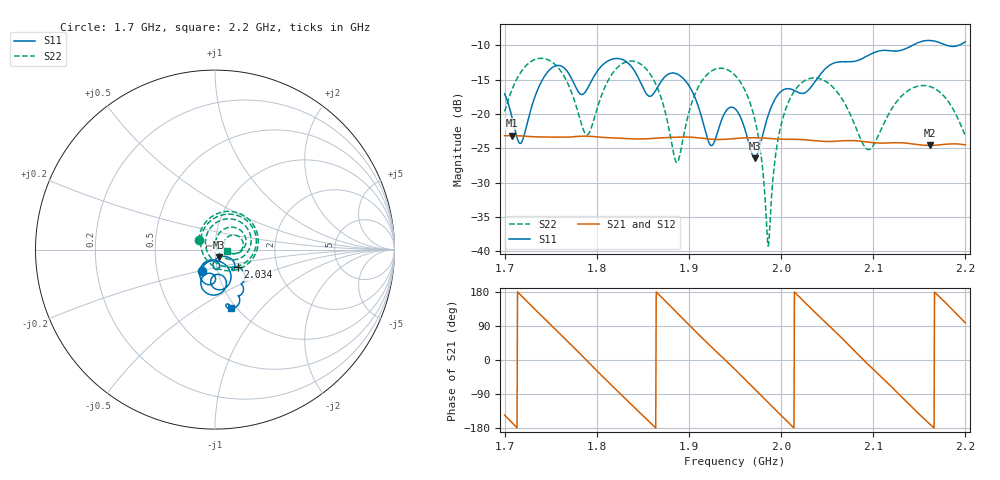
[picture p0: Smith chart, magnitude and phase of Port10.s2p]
# Hz S RI R 50
! CMT, CMT808U, 21440046, 21.4.3/4
! Date: 11/20/2025 11:38:49 PM
! Data: Format (Calibration Info)
! Freq	S11:Re/Im(F2)	S41:Re/Im(F2)	S14:Re/Im(F2)	S44:Re/Im(F2)
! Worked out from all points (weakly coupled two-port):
!   1001 points, 1.7 GHz to 2.2 GHz, reference 50 ohm
!   highest |S21| = -23.14 dB at 1.708 GHz (marker M1); lowest = -24.6 dB at 2.162 GHz (marker M2)
!   lowest |S11| = -26.4 dB at 1.972 GHz (marker M3), VSWR 1.10, Z = 51.9 - j4.5 ohm
!   |S11| at or under -10 dB: start of sweep to 2.143 GHz; 2.18 GHz to 2.193 GHz (12.88 MHz wide, 0.589 % of centre)
!   |S22| runs from -39.2 to -11.9 dB; largest |S21 - S12| = 0.00086
!   S11 on the Smith chart (normalised r, x): 1.7 GHz: 0.84, -0.20; 2.034 GHz: 1.27, -0.26; 2.2 GHz: 0.95, -0.69
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1.7e9  -0.0739 -0.1192  -0.0571 -0.0395  -0.0577 -0.0391  -0.0895 0.0535
1.708e9  -0.0529 -0.0785  -0.0674 -0.0178  -0.0678 -0.0172  -0.0638 0.1363
1.718e9  0.00569 -0.0614  -0.0682 0.0121  -0.0683 0.0128  0.0184 0.2026
1.748e9  0.0787 -0.1914  -0.00909 0.0673  -0.00846 0.0676  0.241 0.0522
1.7835e9  0.0114 -0.1381  0.0673 0.015  0.0677 0.0144  -0.0241 -0.0805
1.7915e9  0.0498 -0.1524  0.0683 -0.00888  0.0685 -0.00959  -0.0714 -0.0119
1.8305e9  -0.0515 -0.2388  -0.0127 -0.0651  -0.0134 -0.0652  0.1669 0.1692
1.867e9  0.00308 -0.1609  -0.0664 0.00763  -0.0665 0.00833  0.1132 -0.096
1.887e9  -0.0586 -0.1869  -0.039 0.0555  -0.0385 0.056  -0.0402 -0.0184
1.9055e9  -0.0831 -0.1089  0.0122 0.0664  0.0129 0.0665  -0.0149 0.1329
1.9235e9  -0.0136 -0.0577  0.0527 0.0392  0.0532 0.0386  0.1209 0.1637
1.95e9  0.000541 -0.1092  0.0601 -0.0279  0.06 -0.0286  0.1914 0.004
1.9715e9  0.0202 -0.0433  0.0148 -0.0655  0.0141 -0.0658  0.0739 -0.0537
1.986e9  0.085 -0.0484  -0.0256 -0.0614  -0.0264 -0.0612  0.0103 0.00355
1.994e9  0.1074 -0.0739  -0.044 -0.0491  -0.0447 -0.0487  0.00557 0.0497
2.0025e9  0.1101 -0.1021  -0.0578 -0.0308  -0.0583 -0.0301  0.0249 0.093
2.0335e9  0.127 -0.0977  -0.0442 0.0466  -0.0437 0.0471  0.1589 0.0903
2.034e9  0.1287 -0.0982  -0.0432 0.0474  -0.0427 0.048  0.1601 0.0884
2.0935e9  0.158 -0.2127  0.0617 -0.0102  0.0617 -0.0109  0.0541 0.0116
2.117e9  0.1334 -0.257  0.027 -0.0553  0.0264 -0.0558  0.0717 0.0707
2.1615e9  0.0971 -0.3289  -0.058 -0.0109  -0.0581 -0.0102  0.1569 0.0221
2.2e9  0.0875 -0.3245  -0.00809 0.0591  -0.00742 0.0591  0.0689 -0.00745
